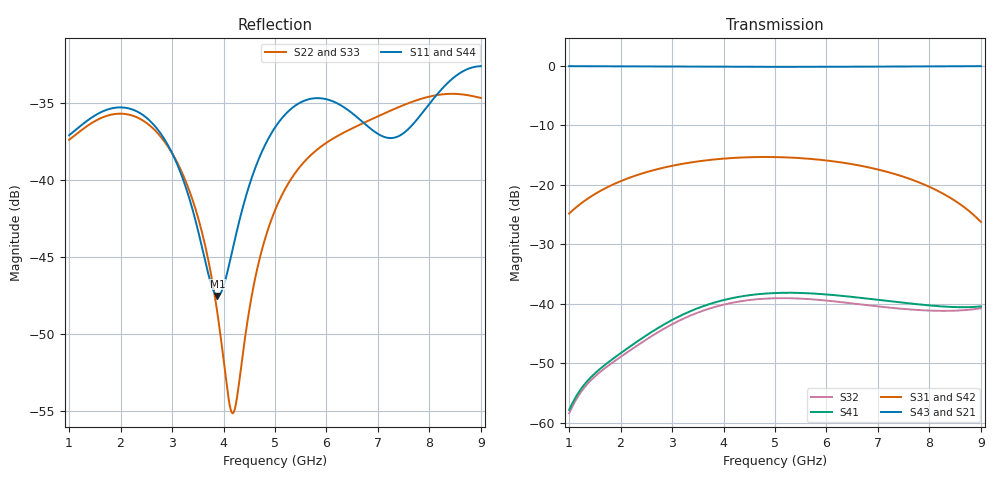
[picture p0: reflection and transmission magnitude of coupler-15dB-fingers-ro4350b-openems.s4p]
! openEMS result for the 15 dB finger-loaded coupler on JLC RO4350B 0.508 mm (#41; W 0.9463, G 0.4749, fingers 0.13 × 0.3692 mm at 1.065 mm, 8 cells)
# Hz S RI R 50
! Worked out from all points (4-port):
!   401 points, 1 GHz to 9 GHz, reference 50 ohm
!   strongest paths, dB at 1 GHz, 3 GHz, 5 GHz, 7 GHz, 9 GHz:
!     S43: -0.1, -0.2, -0.2, -0.2, -0.1
!     S21: -0.1, -0.2, -0.2, -0.2, -0.1
!     S31: -24.8, -16.8, -15.4, -17.4, -26.2
!     S42: -24.8, -16.8, -15.4, -17.4, -26.2
!     S41: -57.8, -42.7, -38.2, -39.3, -40.4
!     S32: -58.4, -43.4, -39.1, -40.4, -40.7
!   lowest |S11| = -47.5 dB at 3.88 GHz (marker M1), VSWR 1.01, Z = 49.6 - j0.182 ohm
!   |S11| at or under -10 dB: start of sweep to end of sweep
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1e9  0.00628 0.0124  0.6238 -0.7679  0.0448 0.0357  -0.000361 0.00124
     0.6238 -0.7678  0.00675 0.0117  -0.000325 0.00116  0.0448 0.0357
     0.0448 0.0357  -0.000325 0.00116  0.00675 0.0117  0.6238 -0.7678
     -0.000361 0.00124  0.0448 0.0357  0.6238 -0.7679  0.00628 0.0124
2.26e9  0.0168 6.23e-05  -0.4131 -0.8927  0.1071 -0.0499  0.00462 0.000213
        -0.4131 -0.8927  0.016 -0.00177  0.00429 4.71e-05  0.1071 -0.0499
        0.1071 -0.0499  0.00429 4.71e-05  0.016 -0.00177  -0.4131 -0.8927
        0.00462 0.000213  0.1071 -0.0499  -0.4131 -0.8927  0.0168 6.23e-05
3.88e9  -0.00377 -0.00183  -0.9359 0.283  -0.047 -0.1571  -0.00133 -0.0103
        -0.9359 0.2829  0.00127 -0.00347  -0.00143 -0.00944  -0.0469 -0.1571
        -0.0469 -0.1571  -0.00143 -0.00944  0.00127 -0.00347  -0.9359 0.2829
        -0.00133 -0.0103  -0.047 -0.1571  -0.9359 0.283  -0.00377 -0.00183
4.2e9  -0.00483 0.00386  -0.8193 0.5325  -0.091 -0.1413  -0.00537 -0.00989
       -0.8194 0.5325  0.00167 -0.00054  -0.0051 -0.00892  -0.0909 -0.1413
       -0.0909 -0.1413  -0.0051 -0.00892  0.00167 -0.00054  -0.8194 0.5325
       -0.00537 -0.00989  -0.091 -0.1413  -0.8193 0.5325  -0.00483 0.00386
5.38e9  0.0111 0.0134  0.0485 0.9758  -0.1682 0.00732  -0.012 0.00303
        0.0484 0.9758  0.0101 -0.00273  -0.0107 0.00295  -0.1683 0.00728
        -0.1683 0.00728  -0.0107 0.00295  0.0101 -0.00273  0.0484 0.9758
        -0.012 0.00303  -0.1682 0.00732  0.0485 0.9758  0.0111 0.0134
6.9e9  0.00757 -0.0123  0.9671 0.1657  -0.0234 0.1354  0.00205 0.0108
       0.9671 0.1658  -0.00583 -0.0147  0.00173 0.00947  -0.0233 0.1355
       -0.0233 0.1355  0.00173 0.00947  -0.00583 -0.0147  0.9671 0.1658
       0.00205 0.0108  -0.0234 0.1354  0.9671 0.1657  0.00757 -0.0123
9e9  -0.0141 0.0186  -0.1451 -0.9788  0.0482 -0.00803  0.00897 -0.0032
     -0.145 -0.9788  -0.0158 0.00948  0.00873 -0.00287  0.0481 -0.00793
     0.0481 -0.00793  0.00873 -0.00287  -0.0158 0.00948  -0.145 -0.9788
     0.00897 -0.0032  0.0482 -0.00803  -0.1451 -0.9788  -0.0141 0.0186
